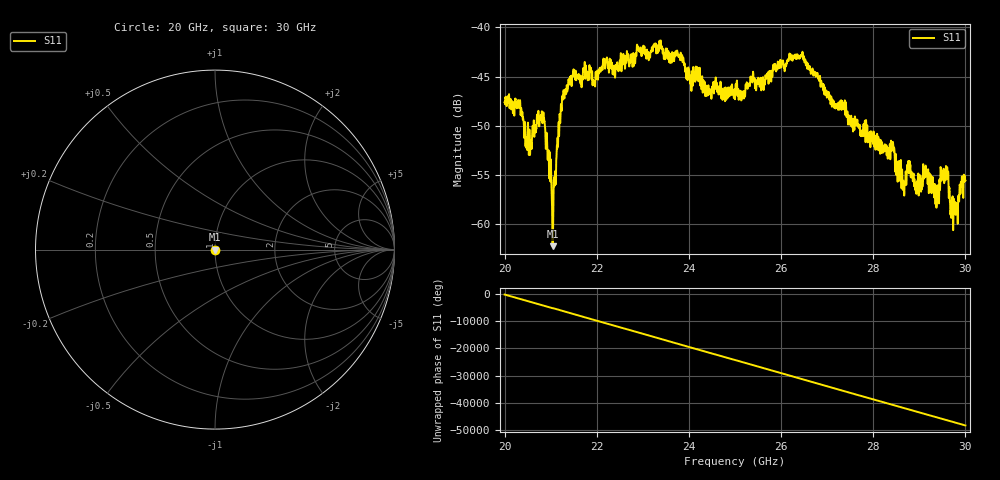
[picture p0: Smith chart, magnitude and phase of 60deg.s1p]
#  HZ  S  RI  R  50.00
! Rohde & Schwarz ZVA40 4Ports - Version 3.90 - 1145.1110k42 SN: 100403
! Date: 2023-10-03 12:05:50
! Measurement: S12
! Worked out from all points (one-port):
!   5001 points, 20 GHz to 30 GHz, reference 50 ohm
!   lowest |S11| = -62.2 dB at 21.04 GHz (marker M1), VSWR 1.00, Z = 50 - j0.0765 ohm
!   |S11| at or under -10 dB: start of sweep to end of sweep
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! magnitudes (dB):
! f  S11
! 20 GHz  -47.6
! 20.32 GHz  -47.8
! 20.52 GHz  -52.3
! 20.83 GHz  -49.4
! 21.04 GHz  -62.2
! 21.08 GHz  -56.0
! 21.17 GHz  -49.6
! 21.25 GHz  -47.2
! 21.51 GHz  -45.0
! 21.95 GHz  -45.5
! 22.5 GHz  -43.4
! 22.91 GHz  -42.3
! 23.75 GHz  -42.5
! 24.4 GHz  -46.5
! 25 GHz  -47.3
! 26.25 GHz  -43.3
! 26.48 GHz  -43.1
! 27.5 GHz  -49.3
! 28.41 GHz  -51.7
! 28.66 GHz  -55.8
! 28.75 GHz  -54.5
! 28.94 GHz  -56.4
! 29.13 GHz  -55.2
! 29.38 GHz  -57.3
! 29.58 GHz  -54.1
! 29.69 GHz  -59.0
! 29.78 GHz  -57.8
! 30 GHz  -55.5
